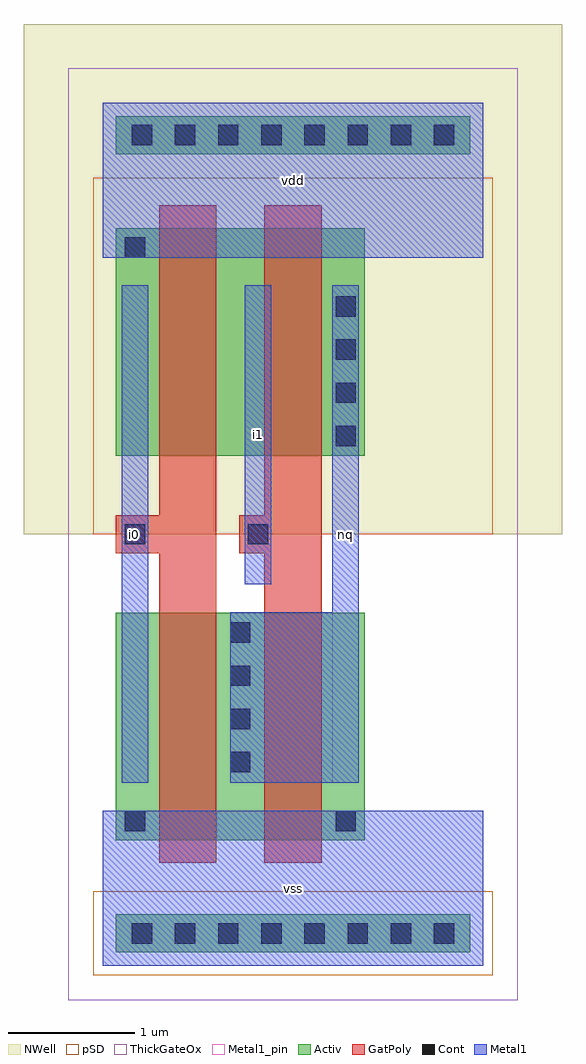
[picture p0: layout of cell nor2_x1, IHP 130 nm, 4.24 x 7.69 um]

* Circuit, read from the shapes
.subckt nor2_x1 i0 i1 nq vdd vss
XM1 nq i0 vss vss sg13_hv_nmos w=1.79u l=0.45u
XM2 vss i1 nq vss sg13_hv_nmos w=1.79u l=0.45u
XM3 n1 i0 vdd vdd sg13_hv_pmos w=1.79u l=0.45u
XM4 nq i1 n1 vdd sg13_hv_pmos w=1.79u l=0.45u
.ends

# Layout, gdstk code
import gdstk
lib = gdstk.Library(unit=1e-6, precision=1e-09)
def R(c, l, rs):  # rectangles x0, y0, x1, y1
    for r in rs: c.add(gdstk.rectangle(r[:2], r[2:], *l))
def A(c, l, x, y, w, h, nx, ny, dx, dy):  # array of equal rectangles
    R(c, l, [(x+i*dx, y+j*dy, x+i*dx+w, y+j*dy+h) for i in range(nx) for j in range(ny)])
def P(c, l, *ps):  # polygons
    for p in ps: c.add(gdstk.Polygon(p, *l))
Activ = (1, 0)
GatPoly = (5, 0)
Cont = (6, 0)
Metal1 = (8, 0)
Metal1_pin = (8, 2)
pSD = (14, 0)
NWell = (31, 0)
ThickGateOx = (44, 0)

nor2_x1 = lib.new_cell('nor2_x1')
R(nor2_x1, Activ, [(0.105,0.105,2.895,0.405), (0.105,0.99,2.065,2.78), (0.105,4.02,2.065,5.81), (0.105,6.395,2.895,6.695)])
P(nor2_x1, GatPoly, [(0.445,0.81),(0.445,3.25),(0.105,3.25),(0.105,3.55),(0.445,3.55),(0.445,5.99),(0.895,5.99),(0.895,0.81)],
  [(1.275,0.81),(1.275,3.25),(1.075,3.25),(1.075,3.55),(1.275,3.55),(1.275,5.99),(1.725,5.99),(1.725,0.81)])
A(nor2_x1, Cont, 0.23, 0.175, 0.16, 0.16, 8, 2, 0.34, 6.29)
A(nor2_x1, Cont, 0.175, 1.06, 0.16, 0.16, 1, 3, 0, 2.26)
A(nor2_x1, Cont, 1.005, 1.525, 0.16, 0.16, 1, 4, 0, 0.34)
A(nor2_x1, Cont, 1.835, 4.095, 0.16, 0.16, 1, 4, 0, 0.34)
R(nor2_x1, Cont, [(1.835,1.06,1.995,1.22), (1.145,3.32,1.305,3.48)])
R(nor2_x1, Metal1, [(0,0,3,1.22), (0.15,1.44,0.36,5.36), (1.12,3.005,1.33,5.36), (0,5.58,3,6.8)])
P(nor2_x1, Metal1, [(1.005,1.44),(1.005,2.785),(1.81,2.785),(1.81,5.36),(2.02,5.36),(2.02,1.44)])
R(nor2_x1, Metal1_pin, [(0,0,3,1.22), (0.15,1.44,0.36,5.36), (1.81,1.44,2.02,5.36), (1.12,3.005,1.33,5.36), (0,5.58,3,6.8)])
R(nor2_x1, pSD, [(-0.075,-0.075,3.075,0.585), (-0.075,3.4,3.075,6.21)])
R(nor2_x1, NWell, [(-0.62,3.4,3.62,7.42)])
R(nor2_x1, ThickGateOx, [(-0.27,-0.27,3.27,7.07)])
nor2_x1.add(gdstk.Label('vss', (1.5,0.61), layer=8, texttype=2))
nor2_x1.add(gdstk.Label('vdd', (1.5,6.19), layer=8, texttype=2))
nor2_x1.add(gdstk.Label('nq', (1.915,3.4), layer=8, texttype=2))
nor2_x1.add(gdstk.Label('i0', (0.255,3.4), layer=8, texttype=2))
nor2_x1.add(gdstk.Label('i1', (1.225,4.183), layer=8, texttype=2))

lib.write_gds('nor2_x1.gds')
